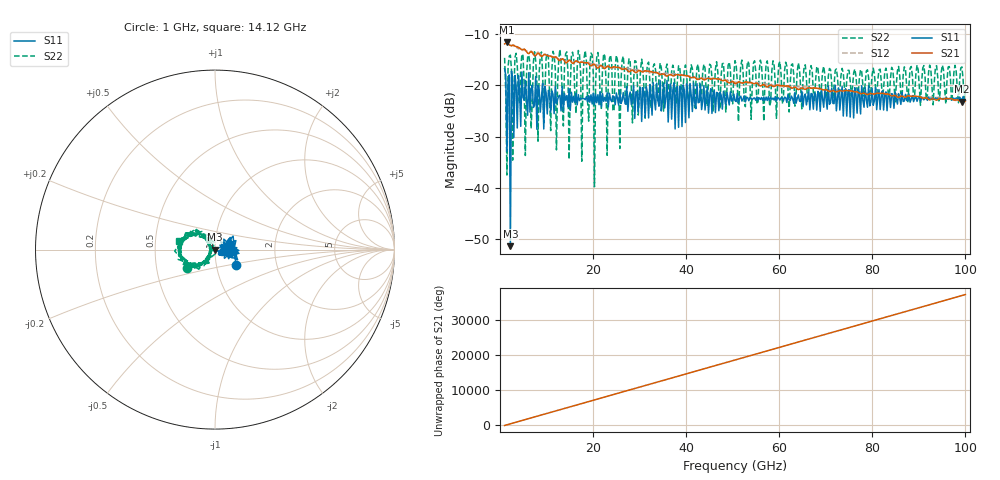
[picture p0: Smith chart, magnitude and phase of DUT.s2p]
!Created with skrf (http://scikit-rf.org).
# GHz S RI R 50.0
!freq ReS11 ImS11 ReS21 ImS21 ReS12 ImS12 ReS22 ImS22
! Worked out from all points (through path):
!   401 points, 1 GHz to 100 GHz, reference 50 ohm
!   highest |S21| = -11.56 dB at 1.495 GHz (marker M1); lowest = -23.2 dB at 99.26 GHz (marker M2)
!   lowest |S11| = -51.4 dB at 2.237 GHz (marker M3), VSWR 1.01, Z = 49.7 + j0.00396 ohm
!   |S11| at or under -10 dB: start of sweep to end of sweep
!   |S22| runs from -39.8 to -13.0 dB; largest |S21 - S12| = 0.02
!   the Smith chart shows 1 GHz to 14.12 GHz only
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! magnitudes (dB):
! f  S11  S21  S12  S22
! 1 GHz  -16.8  -11.9  -11.4  -14.6
! 1.495 GHz  -32.9  -11.6  -11.6  -37.5
! 1.742 GHz  -19.5  -11.8  -11.8  -16.3
! 2.237 GHz  -51.4  -12.2  -12.1  -14.1
! 2.732 GHz  -19.3  -12.2  -12.1  -34.6
! 2.98 GHz  -30.2  -12.2  -12.3  -21.4
! 3.475 GHz  -20.1  -12.4  -12.6  -13.7
! 12.14 GHz  -23.6  -14.5  -14.5  -32.6
! 12.88 GHz  -21.9  -15.2  -14.9  -13.0
! 17.58 GHz  -22.6  -15.5  -15.3  -34.8
! 18.32 GHz  -22.8  -15.6  -15.6  -13.2
! 20.3 GHz  -23.8  -15.9  -15.8  -39.8
! 21.05 GHz  -21.8  -16.6  -16.1  -13.6
! 23.03 GHz  -21.5  -16.3  -16.4  -33.7
! 23.77 GHz  -22.8  -16.5  -16.6  -14.1
! 25.75 GHz  -21.0  -16.6  -16.5  -32.3
! 34.16 GHz  -24.1  -17.8  -17.6  -18.3
! 50.5 GHz  -23.0  -19.7  -19.4  -15.2
! 67.08 GHz  -21.7  -20.6  -20.5  -17.1
! 83.67 GHz  -21.9  -21.8  -21.6  -22.0
! 99.26 GHz  -22.9  -23.2  -23.0  -16.4
! 100 GHz  -22.9  -23.1  -22.9  -21.2
